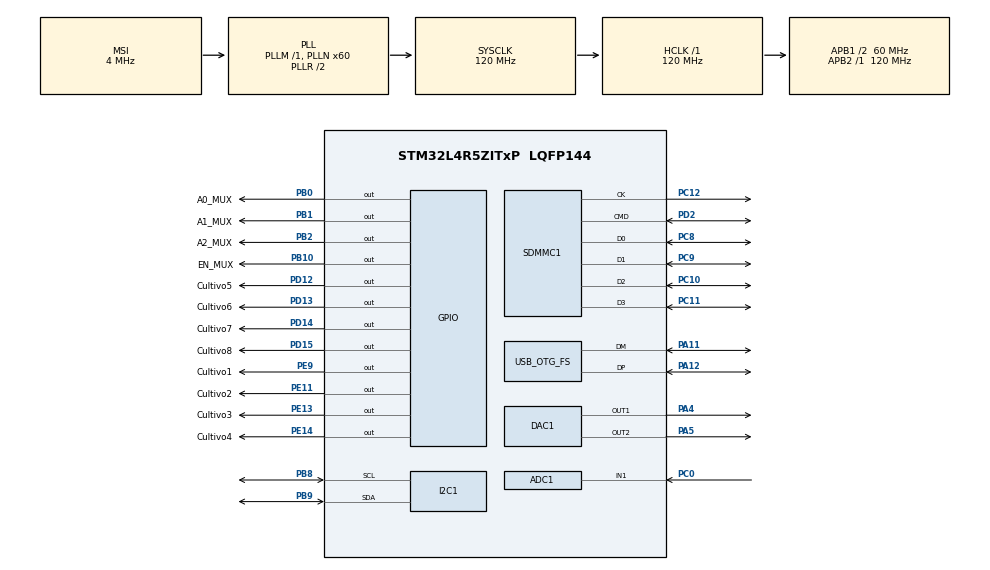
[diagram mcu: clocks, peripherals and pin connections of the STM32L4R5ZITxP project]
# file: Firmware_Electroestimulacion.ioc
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ADC1.Channel-0\#ChannelRegularConversion=ADC_CHANNEL_1
ADC1.ContinuousConvMode=ENABLE
ADC1.ExternalTrigConv=ADC_EXTERNALTRIG_T1_TRGO
ADC1.NbrOfConversionFlag=1
ADC1.OffsetNumber-0\#ChannelRegularConversion=ADC_OFFSET_NONE
ADC1.Overrun=ADC_OVR_DATA_OVERWRITTEN
ADC1.Rank-0\#ChannelRegularConversion=1
ADC1.SamplingTime-0\#ChannelRegularConversion=ADC_SAMPLETIME_2CYCLES_5
ADC1.master=1
DAC1.DAC_Channel-DAC_OUT2=DAC_CHANNEL_2
DAC1.DAC_HighFrequency-DAC_OUT1=DAC_HIGH_FREQUENCY_INTERFACE_MODE_AUTOMATIC
DAC1.DAC_HighFrequency-DAC_OUT2=DAC_HIGH_FREQUENCY_INTERFACE_MODE_AUTOMATIC
DAC1.DAC_Trigger-DAC_OUT1=DAC_TRIGGER_T1_TRGO
DAC1.DAC_Trigger-DAC_OUT2=DAC_TRIGGER_T8_TRGO
Dma.ADC1.2.Direction=DMA_PERIPH_TO_MEMORY
Dma.ADC1.2.EventEnable=DISABLE
Dma.ADC1.2.Instance=DMA1_Channel3
Dma.ADC1.2.MemDataAlignment=DMA_MDATAALIGN_HALFWORD
Dma.ADC1.2.MemInc=DMA_MINC_ENABLE
Dma.ADC1.2.Mode=DMA_NORMAL
Dma.ADC1.2.PeriphDataAlignment=DMA_PDATAALIGN_HALFWORD
Dma.ADC1.2.PeriphInc=DMA_PINC_DISABLE
Dma.ADC1.2.Polarity=HAL_DMAMUX_REQUEST_GEN_RISING
Dma.ADC1.2.Priority=DMA_PRIORITY_VERY_HIGH
Dma.ADC1.2.RequestNumber=1
Dma.ADC1.2.SignalID=NONE
Dma.ADC1.2.SyncEnable=DISABLE
Dma.ADC1.2.SyncPolarity=HAL_DMAMUX_SYNC_NO_EVENT
Dma.ADC1.2.SyncRequestNumber=1
Dma.ADC1.2.SyncSignalID=NONE
Dma.DAC1_CH1.0.Direction=DMA_MEMORY_TO_PERIPH
Dma.DAC1_CH1.0.EventEnable=DISABLE
Dma.DAC1_CH1.0.Instance=DMA1_Channel1
Dma.DAC1_CH1.0.MemDataAlignment=DMA_MDATAALIGN_WORD
Dma.DAC1_CH1.0.MemInc=DMA_MINC_ENABLE
Dma.DAC1_CH1.0.Mode=DMA_CIRCULAR
Dma.DAC1_CH1.0.PeriphDataAlignment=DMA_PDATAALIGN_WORD
Dma.DAC1_CH1.0.PeriphInc=DMA_PINC_DISABLE
Dma.DAC1_CH1.0.Polarity=HAL_DMAMUX_REQUEST_GEN_RISING
Dma.DAC1_CH1.0.Priority=DMA_PRIORITY_HIGH
Dma.DAC1_CH1.0.RequestNumber=1
Dma.DAC1_CH1.0.SignalID=NONE
Dma.DAC1_CH1.0.SyncEnable=DISABLE
Dma.DAC1_CH1.0.SyncPolarity=HAL_DMAMUX_SYNC_NO_EVENT
Dma.DAC1_CH1.0.SyncRequestNumber=1
Dma.DAC1_CH1.0.SyncSignalID=NONE
Dma.DAC1_CH2.1.Direction=DMA_MEMORY_TO_PERIPH
Dma.DAC1_CH2.1.EventEnable=DISABLE
Dma.DAC1_CH2.1.Instance=DMA1_Channel2
Dma.DAC1_CH2.1.MemDataAlignment=DMA_MDATAALIGN_WORD
Dma.DAC1_CH2.1.MemInc=DMA_MINC_ENABLE
Dma.DAC1_CH2.1.Mode=DMA_CIRCULAR
Dma.DAC1_CH2.1.PeriphDataAlignment=DMA_PDATAALIGN_WORD
Dma.DAC1_CH2.1.PeriphInc=DMA_PINC_DISABLE
Dma.DAC1_CH2.1.Polarity=HAL_DMAMUX_REQUEST_GEN_RISING
Dma.DAC1_CH2.1.Priority=DMA_PRIORITY_HIGH
Dma.DAC1_CH2.1.RequestNumber=1
Dma.DAC1_CH2.1.SignalID=NONE
Dma.DAC1_CH2.1.SyncEnable=DISABLE
Dma.DAC1_CH2.1.SyncPolarity=HAL_DMAMUX_SYNC_NO_EVENT
Dma.DAC1_CH2.1.SyncRequestNumber=1
Dma.DAC1_CH2.1.SyncSignalID=NONE
Dma.Request0=DAC1_CH1
Dma.Request1=DAC1_CH2
Dma.Request2=ADC1
I2C1.Timing=0x10A077A8
IWDG.Prescaler=IWDG_PRESCALER_16
Mcu.Family=STM32L4
Mcu.Name=STM32L4R5ZITxP
Mcu.Package=LQFP144
NVIC.DMA1_Channel1_IRQn=true\:0\:0\:false\:false\:true\:false\:true\:true
NVIC.DMA1_Channel2_IRQn=true\:0\:0\:false\:false\:true\:false\:true\:true
NVIC.DMA1_Channel3_IRQn=true\:0\:0\:false\:false\:true\:false\:true\:true
NVIC.OTG_FS_IRQn=true\:0\:0\:false\:false\:true\:false\:true\:true
NVIC.PriorityGroup=NVIC_PRIORITYGROUP_4
PA11.Mode=Device_Only
PA11.Signal=USB_OTG_FS_DM
PA12.Mode=Device_Only
PA12.Signal=USB_OTG_FS_DP
PA4.Signal=COMP_DAC11_group
PA5.Signal=COMP_DAC12_group
PB0.GPIO_Label=A0_MUX
PB0.Signal=GPIO_Output
PB1.GPIO_Label=A1_MUX
PB1.Signal=GPIO_Output
PB10.GPIO_Label=EN_MUX
PB10.Signal=GPIO_Output
PB2.GPIO_Label=A2_MUX
PB2.Signal=GPIO_Output
PB8.Mode=I2C
PB8.Signal=I2C1_SCL
PB9.Mode=I2C
PB9.Signal=I2C1_SDA
PC0.Signal=ADCx_IN1
PC10.GPIO_PuPd=GPIO_PULLUP
PC10.Mode=SD_4_bits_Wide_bus
PC10.Signal=SDMMC1_D2
PC11.GPIO_PuPd=GPIO_PULLUP
PC11.Mode=SD_4_bits_Wide_bus
PC11.Signal=SDMMC1_D3
PC12.Mode=SD_4_bits_Wide_bus
PC12.Signal=SDMMC1_CK
PC14-OSC32_IN\ (PC14).Mode=LSE-External-Oscillator
PC14-OSC32_IN\ (PC14).Signal=RCC_OSC32_IN
PC15-OSC32_OUT\ (PC15).Mode=LSE-External-Oscillator
PC15-OSC32_OUT\ (PC15).Signal=RCC_OSC32_OUT
PC8.GPIO_PuPd=GPIO_PULLUP
PC8.Mode=SD_4_bits_Wide_bus
PC8.Signal=SDMMC1_D0
PC9.GPIO_PuPd=GPIO_PULLUP
PC9.Mode=SD_4_bits_Wide_bus
PC9.Signal=SDMMC1_D1
PD12.GPIO_Label=Cultivo5
PD12.Signal=GPIO_Output
PD13.GPIO_Label=Cultivo6
PD13.Signal=GPIO_Output
PD14.GPIO_Label=Cultivo7
PD14.Signal=GPIO_Output
PD15.GPIO_Label=Cultivo8
PD15.Signal=GPIO_Output
PD2.GPIO_PuPd=GPIO_PULLUP
PD2.Mode=SD_4_bits_Wide_bus
PD2.Signal=SDMMC1_CMD
PE11.GPIO_Label=Cultivo2
PE11.Signal=GPIO_Output
PE13.GPIO_Label=Cultivo3
PE13.Signal=GPIO_Output
PE14.GPIO_Label=Cultivo4
PE14.Signal=GPIO_Output
PE9.GPIO_Label=Cultivo1
PE9.Signal=GPIO_Output
ProjectManager.HeapSize=0x200
ProjectManager.StackSize=0x400
ProjectManager.TargetToolchain=STM32CubeIDE
RCC.ADCFreq_Value=80000000
RCC.AHBFreq_Value=120000000
RCC.APB1CLKDivider=RCC_HCLK_DIV2
RCC.APB1Freq_Value=60000000
RCC.APB1TimFreq_Value=120000000
RCC.APB2Freq_Value=120000000
RCC.APB2TimFreq_Value=120000000
RCC.CK48CLockSelection=RCC_USBCLKSOURCE_HSI48
RCC.CortexFreq_Value=120000000
RCC.HCLKFreq_Value=120000000
RCC.HSE_VALUE=8000000
RCC.HSI48_VALUE=48000000
RCC.HSI_VALUE=16000000
RCC.MSI_VALUE=4000000
RCC.PLLN=60
RCC.PLLSAI1N=40
RCC.RTCClockSelection=RCC_RTCCLKSOURCE_LSE
RCC.SYSCLKFreq_VALUE=120000000
RCC.SYSCLKSource=RCC_SYSCLKSOURCE_PLLCLK
RCC.USBFreq_Value=48000000
RCC.VCOOutputFreq_Value=240000000
SDMMC1.ClockDiv=4
SDMMC1.HardwareFlowControl=SDMMC_HARDWARE_FLOW_CONTROL_ENABLE
SH.ADCx_IN1.0=ADC1_IN1,IN1-Single-Ended
SH.COMP_DAC11_group.0=DAC1_OUT1,DAC_OUT1
SH.COMP_DAC12_group.0=DAC1_OUT2,DAC_OUT2
TIM1.TIM_MasterOutputTrigger=TIM_TRGO_UPDATE
TIM8.TIM_MasterOutputTrigger=TIM_TRGO_UPDATE
USB_DEVICE.CLASS_NAME_FS=CDC
USB_DEVICE.VirtualMode=Cdc
USB_DEVICE.VirtualModeFS=Cdc_FS
USB_OTG_FS.VirtualMode=Device_Only
VP_FATFS_VS_SDIO.Mode=SDIO
VP_IWDG_VS_IWDG.Mode=IWDG_Activate
VP_RCC_LSE.Mode=CRS SYNC Source LSE
VP_RTC_VS_RTC_Activate.Mode=RTC_Enabled
VP_RTC_VS_RTC_Calendar.Mode=RTC_Calendar
VP_TIM1_VS_ClockSourceINT.Mode=Internal
VP_TIM8_VS_ClockSourceINT.Mode=Internal
VP_USB_DEVICE_VS_USB_DEVICE_CDC_FS.Mode=CDC_FS
board=custom

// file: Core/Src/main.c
/* USER CODE BEGIN Header */
/**
  ******************************************************************************
  * @file           : main.c
  * @brief          : Main program body
  ******************************************************************************
  * @attention
  *
  * Copyright (c) 2026 STMicroelectronics.
  * All rights reserved.
  *
  * This software is licensed under terms that can be found in the LICENSE file
  * in the root directory of this software component.
  * If no LICENSE file comes with this software, it is provided AS-IS.
  *
  ******************************************************************************
  */
/* USER CODE END Header */
#include "main.h"
#include "fatfs.h"
#include "usb_device.h"

/* USER CODE BEGIN Includes */
#include "ad5144.h"
#include "dac_waveform.h"
#include "culture_selector.h"
#include "tia_mux.h"
#include "current_calc.h"
#include "tia_reader.h"
#include "sd_logger.h"
#include "session_fsm.h"
#include "uart_protocol.h"
/* USER CODE END Includes */

ADC_HandleTypeDef hadc1;
DMA_HandleTypeDef hdma_adc1;

DAC_HandleTypeDef hdac1;
DMA_HandleTypeDef hdma_dac1_ch1;
DMA_HandleTypeDef hdma_dac1_ch2;

I2C_HandleTypeDef hi2c1;

IWDG_HandleTypeDef hiwdg;

RTC_HandleTypeDef hrtc;

SD_HandleTypeDef hsd1;

TIM_HandleTypeDef htim1;
TIM_HandleTypeDef htim8;

/* USER CODE BEGIN PV */
/* Las dos instancias del potenciometro digital cuadruple: U1 fija la
 * amplitud de los canales 1-4 (banco A), U2 la de los 5-8 (banco B). El
 * strap del pin ADDR de cada chip (confirmado contra ESA.png): U1 -> VDD,
 * U2 -> GND. */
static AD5144_Handle_t ad5144_bank_a;
static AD5144_Handle_t ad5144_bank_b;
/* USER CODE END PV */

void SystemClock_Config(void);
static void MX_GPIO_Init(void);
static void MX_DMA_Init(void);
static void MX_DAC1_Init(void);
static void MX_TIM1_Init(void);
static void MX_TIM8_Init(void);
static void MX_ADC1_Init(void);
static void MX_I2C1_Init(void);
static void MX_IWDG_Init(void);
static void MX_RTC_Init(void);
static void MX_SDMMC1_SD_Init(void);

int main(void)
{

  /* MCU Configuration--------------------------------------------------------*/

  /* Reset of all peripherals, Initializes the Flash interface and the Systick. */
  HAL_Init();

  /* Configure the system clock */
  SystemClock_Config();

  /* Initialize all configured peripherals */
  MX_GPIO_Init();
  MX_DMA_Init();
  MX_DAC1_Init();
  MX_TIM1_Init();
  MX_TIM8_Init();
  MX_ADC1_Init();
  MX_I2C1_Init();
  MX_IWDG_Init();
  MX_RTC_Init();
  MX_SDMMC1_SD_Init();
  MX_FATFS_Init();
  MX_USB_DEVICE_Init();
  /* USER CODE BEGIN 2 */

  /* --- Capa BSP: arranque en 0 V en los 8 canales (requisito de seguridad) --- */
  if (DacWaveform_Init(&hdac1, &htim1, &htim8) != HAL_OK)
  {
    Error_Handler();
  }
  /* AD5144_Init hace un ping I2C: sin la placa fisica devolvera != HAL_OK,
   * pero eso no debe bloquear el arranque. La postura segura la mantienen
   * el DAC aparcado en VBIAS (DacWaveform_Init), AD5144_AllChannelsZero
   * (ganancia minima, codigo 255) y los pocillos a GND. */
  (void)AD5144_Init(&ad5144_bank_a, &hi2c1, AD5144_I2C_ADDR_ADDR_VLOG);  /* U1: ADDR=2V5=VLOGIC -> 0x28 */
  (void)AD5144_Init(&ad5144_bank_b, &hi2c1, AD5144_I2C_ADDR_ADDR_GND);   /* U2: ADDR=GND        -> 0x2B */
  (void)AD5144_AllChannelsZero(&ad5144_bank_a);
  (void)AD5144_AllChannelsZero(&ad5144_bank_b);
  (void)CultureSelector_AllDisconnect();
  CurrentCalc_Init();
  (void)CurrentCalc_LoadFromFlash();   /* sin calibracion guardada: valores por defecto */
  (void)TiaReader_Init(&hadc1);        /* calibra el ADC; lectura parada */

  /* --- Capa App: FSM de sesion (reanuda desde backup si procede) y parser --- */
  (void)SessionFSM_Init(&hrtc, &ad5144_bank_a, &ad5144_bank_b);
  UartProtocol_Init();
  SdLogger_Init();

  /* USER CODE END 2 */

  /* Infinite loop */
  while (1)
  {

    /* USER CODE BEGIN 3 */
    SessionFSM_Task();      /* transiciones ON/REST del protocolo          */
    UartProtocol_Task();    /* comandos del host por USB CDC               */
    TiaReader_Task();       /* rafagas de medida de corriente              */
    SdLogger_Task();        /* ventanas de 1 s y registro en la microSD    */
    HAL_IWDG_Refresh(&hiwdg); /* solo desde el bucle sano: si esto se
                                cuelga, el IWDG resetea y no se sigue
                                estimulando sin control */
  }
  /* USER CODE END 3 */
}

void SystemClock_Config(void)
{
  RCC_OscInitTypeDef RCC_OscInitStruct = {0};
  RCC_ClkInitTypeDef RCC_ClkInitStruct = {0};
  RCC_CRSInitTypeDef RCC_CRSInitStruct = {0};

  /** Configure the main internal regulator output voltage
  */
  if (HAL_PWREx_ControlVoltageScaling(PWR_REGULATOR_VOLTAGE_SCALE1_BOOST) != HAL_OK)
  {
    Error_Handler();
  }

  /** Configure LSE Drive Capability
  */
  HAL_PWR_EnableBkUpAccess();
  __HAL_RCC_LSEDRIVE_CONFIG(RCC_LSEDRIVE_LOW);

  /** Initializes the RCC Oscillators according to the specified parameters
  * in the RCC_OscInitTypeDef structure.
  */
  RCC_OscInitStruct.OscillatorType = RCC_OSCILLATORTYPE_HSI48|RCC_OSCILLATORTYPE_LSI
                              |RCC_OSCILLATORTYPE_LSE|RCC_OSCILLATORTYPE_MSI;
  RCC_OscInitStruct.LSEState = RCC_LSE_ON;
  RCC_OscInitStruct.HSI48State = RCC_HSI48_ON;
  RCC_OscInitStruct.LSIState = RCC_LSI_ON;
  RCC_OscInitStruct.MSIState = RCC_MSI_ON;
  RCC_OscInitStruct.MSICalibrationValue = 0;
  RCC_OscInitStruct.MSIClockRange = RCC_MSIRANGE_6;
  RCC_OscInitStruct.PLL.PLLState = RCC_PLL_ON;
  RCC_OscInitStruct.PLL.PLLSource = RCC_PLLSOURCE_MSI;
  RCC_OscInitStruct.PLL.PLLM = 1;
  RCC_OscInitStruct.PLL.PLLN = 60;
  RCC_OscInitStruct.PLL.PLLP = RCC_PLLP_DIV2;
  RCC_OscInitStruct.PLL.PLLQ = RCC_PLLQ_DIV2;
  RCC_OscInitStruct.PLL.PLLR = RCC_PLLR_DIV2;
  if (HAL_RCC_OscConfig(&RCC_OscInitStruct) != HAL_OK)
  {
    Error_Handler();
  }

  /** Initializes the CPU, AHB and APB buses clocks
  */
  RCC_ClkInitStruct.ClockType = RCC_CLOCKTYPE_HCLK|RCC_CLOCKTYPE_SYSCLK
                              |RCC_CLOCKTYPE_PCLK1|RCC_CLOCKTYPE_PCLK2;
  RCC_ClkInitStruct.SYSCLKSource = RCC_SYSCLKSOURCE_PLLCLK;
  RCC_ClkInitStruct.AHBCLKDivider = RCC_SYSCLK_DIV1;
  RCC_ClkInitStruct.APB1CLKDivider = RCC_HCLK_DIV2;
  RCC_ClkInitStruct.APB2CLKDivider = RCC_HCLK_DIV1;

  if (HAL_RCC_ClockConfig(&RCC_ClkInitStruct, FLASH_LATENCY_5) != HAL_OK)
  {
    Error_Handler();
  }

  /** Enable the SYSCFG APB clock
  */
  __HAL_RCC_CRS_CLK_ENABLE();

  /** Configures CRS
  */
  RCC_CRSInitStruct.Prescaler = RCC_CRS_SYNC_DIV1;
  RCC_CRSInitStruct.Source = RCC_CRS_SYNC_SOURCE_LSE;
  RCC_CRSInitStruct.Polarity = RCC_CRS_SYNC_POLARITY_RISING;
  RCC_CRSInitStruct.ReloadValue = __HAL_RCC_CRS_RELOADVALUE_CALCULATE(48000000,32768);
  RCC_CRSInitStruct.ErrorLimitValue = 34;
  RCC_CRSInitStruct.HSI48CalibrationValue = 32;

  HAL_RCCEx_CRSConfig(&RCC_CRSInitStruct);
}

static void MX_ADC1_Init(void)
{

  ADC_ChannelConfTypeDef sConfig = {0};

  /** Common config
  */
  hadc1.Instance = ADC1;
  hadc1.Init.ClockPrescaler = ADC_CLOCK_ASYNC_DIV1;
  hadc1.Init.Resolution = ADC_RESOLUTION_12B;
  hadc1.Init.DataAlign = ADC_DATAALIGN_RIGHT;
  hadc1.Init.ScanConvMode = ADC_SCAN_DISABLE;
  hadc1.Init.EOCSelection = ADC_EOC_SINGLE_CONV;
  hadc1.Init.LowPowerAutoWait = DISABLE;
  hadc1.Init.ContinuousConvMode = ENABLE;
  hadc1.Init.NbrOfConversion = 1;
  hadc1.Init.DiscontinuousConvMode = DISABLE;
  hadc1.Init.ExternalTrigConv = ADC_EXTERNALTRIG_T1_TRGO;
  hadc1.Init.ExternalTrigConvEdge = ADC_EXTERNALTRIGCONVEDGE_RISING;
  hadc1.Init.DMAContinuousRequests = DISABLE;
  hadc1.Init.Overrun = ADC_OVR_DATA_OVERWRITTEN;
  hadc1.Init.OversamplingMode = DISABLE;
  if (HAL_ADC_Init(&hadc1) != HAL_OK)
  {
    Error_Handler();
  }

  /** Configure Regular Channel
  */
  sConfig.Channel = ADC_CHANNEL_1;
  sConfig.Rank = ADC_REGULAR_RANK_1;
  sConfig.SamplingTime = ADC_SAMPLETIME_2CYCLES_5;
  sConfig.SingleDiff = ADC_SINGLE_ENDED;
  sConfig.OffsetNumber = ADC_OFFSET_NONE;
  sConfig.Offset = 0;
  if (HAL_ADC_ConfigChannel(&hadc1, &sConfig) != HAL_OK)
  {
    Error_Handler();
  }

}

static void MX_DAC1_Init(void)
{

  DAC_ChannelConfTypeDef sConfig = {0};

  /** DAC Initialization
  */
  hdac1.Instance = DAC1;
  if (HAL_DAC_Init(&hdac1) != HAL_OK)
  {
    Error_Handler();
  }

  /** DAC channel OUT1 config
  */
  sConfig.DAC_SampleAndHold = DAC_SAMPLEANDHOLD_DISABLE;
  sConfig.DAC_Trigger = DAC_TRIGGER_T1_TRGO;
  sConfig.DAC_HighFrequency = DAC_HIGH_FREQUENCY_INTERFACE_MODE_AUTOMATIC;
  sConfig.DAC_OutputBuffer = DAC_OUTPUTBUFFER_ENABLE;
  sConfig.DAC_ConnectOnChipPeripheral = DAC_CHIPCONNECT_DISABLE;
  sConfig.DAC_UserTrimming = DAC_TRIMMING_FACTORY;
  if (HAL_DAC_ConfigChannel(&hdac1, &sConfig, DAC_CHANNEL_1) != HAL_OK)
  {
    Error_Handler();
  }

  /** DAC channel OUT2 config
  */
  sConfig.DAC_Trigger = DAC_TRIGGER_T8_TRGO;
  if (HAL_DAC_ConfigChannel(&hdac1, &sConfig, DAC_CHANNEL_2) != HAL_OK)
  {
    Error_Handler();
  }

}

static void MX_I2C1_Init(void)
{

  hi2c1.Instance = I2C1;
  hi2c1.Init.Timing = 0x10A077A8;
  hi2c1.Init.OwnAddress1 = 0;
  hi2c1.Init.AddressingMode = I2C_ADDRESSINGMODE_7BIT;
  hi2c1.Init.DualAddressMode = I2C_DUALADDRESS_DISABLE;
  hi2c1.Init.OwnAddress2 = 0;
  hi2c1.Init.OwnAddress2Masks = I2C_OA2_NOMASK;
  hi2c1.Init.GeneralCallMode = I2C_GENERALCALL_DISABLE;
  hi2c1.Init.NoStretchMode = I2C_NOSTRETCH_DISABLE;
  if (HAL_I2C_Init(&hi2c1) != HAL_OK)
  {
    Error_Handler();
  }

  /** Configure Analogue filter
  */
  if (HAL_I2CEx_ConfigAnalogFilter(&hi2c1, I2C_ANALOGFILTER_ENABLE) != HAL_OK)
  {
    Error_Handler();
  }

  /** Configure Digital filter
  */
  if (HAL_I2CEx_ConfigDigitalFilter(&hi2c1, 0) != HAL_OK)
  {
    Error_Handler();
  }

}

static void MX_IWDG_Init(void)
{

  hiwdg.Instance = IWDG;
  hiwdg.Init.Prescaler = IWDG_PRESCALER_16;
  hiwdg.Init.Window = 4095;
  hiwdg.Init.Reload = 4095;
  if (HAL_IWDG_Init(&hiwdg) != HAL_OK)
  {
    Error_Handler();
  }

}

static void MX_RTC_Init(void)
{

  RTC_TimeTypeDef sTime = {0};
  RTC_DateTypeDef sDate = {0};

  /** Initialize RTC Only
  */
  hrtc.Instance = RTC;
  hrtc.Init.HourFormat = RTC_HOURFORMAT_24;
  hrtc.Init.AsynchPrediv = 127;
  hrtc.Init.SynchPrediv = 255;
  hrtc.Init.OutPut = RTC_OUTPUT_DISABLE;
  hrtc.Init.OutPutRemap = RTC_OUTPUT_REMAP_NONE;
  hrtc.Init.OutPutPolarity = RTC_OUTPUT_POLARITY_HIGH;
  hrtc.Init.OutPutType = RTC_OUTPUT_TYPE_OPENDRAIN;
  if (HAL_RTC_Init(&hrtc) != HAL_OK)
  {
    Error_Handler();
  }

  /* USER CODE BEGIN Check_RTC_BKUP */
  /* El calendario del RTC es la base de tiempo del protocolo 6h/6h
   * (session_fsm mide diferencias sobre el). Si ya se ajusto en un
   * arranque anterior y ha seguido contando gracias a VBAT, NO se debe
   * reescribir hora/fecha aqui: eso reiniciaria el reloj y se perderia
   * el punto del protocolo tras un corte de alimentacion.
   * RTC_BKP_DR31 se reserva como testigo de "calendario ya inicializado";
   * session_fsm usa RTC_BKP_DR0..DR13. */
  if (HAL_RTCEx_BKUPRead(&hrtc, RTC_BKP_DR31) == 0x32F2U)
  {
    return;
  }
  /* USER CODE END Check_RTC_BKUP */

  /** Initialize RTC and set the Time and Date
  */
  sTime.Hours = 0x0;
  sTime.Minutes = 0x0;
  sTime.Seconds = 0x0;
  sTime.DayLightSaving = RTC_DAYLIGHTSAVING_NONE;
  sTime.StoreOperation = RTC_STOREOPERATION_RESET;
  if (HAL_RTC_SetTime(&hrtc, &sTime, RTC_FORMAT_BCD) != HAL_OK)
  {
    Error_Handler();
  }
  sDate.WeekDay = RTC_WEEKDAY_MONDAY;
  sDate.Month = RTC_MONTH_JANUARY;
  sDate.Date = 0x1;
  sDate.Year = 0x0;

  if (HAL_RTC_SetDate(&hrtc, &sDate, RTC_FORMAT_BCD) != HAL_OK)
  {
    Error_Handler();
  }
  /* USER CODE BEGIN RTC_Init 2 */
  /* Primer arranque: se acaba de fijar hora/fecha. Se marca el testigo
   * para que los siguientes arranques respeten el calendario en curso. */
  HAL_PWR_EnableBkUpAccess();
  HAL_RTCEx_BKUPWrite(&hrtc, RTC_BKP_DR31, 0x32F2U);
  /* USER CODE END RTC_Init 2 */

}

static void MX_SDMMC1_SD_Init(void)
{

  hsd1.Instance = SDMMC1;
  hsd1.Init.ClockEdge = SDMMC_CLOCK_EDGE_RISING;
  hsd1.Init.ClockPowerSave = SDMMC_CLOCK_POWER_SAVE_DISABLE;
  hsd1.Init.BusWide = SDMMC_BUS_WIDE_4B;
  hsd1.Init.HardwareFlowControl = SDMMC_HARDWARE_FLOW_CONTROL_ENABLE;
  hsd1.Init.ClockDiv = 4;
  hsd1.Init.Transceiver = SDMMC_TRANSCEIVER_DISABLE;

}

static void MX_TIM1_Init(void)
{

  TIM_ClockConfigTypeDef sClockSourceConfig = {0};
  TIM_MasterConfigTypeDef sMasterConfig = {0};

  htim1.Instance = TIM1;
  htim1.Init.Prescaler = 0;
  htim1.Init.CounterMode = TIM_COUNTERMODE_UP;
  htim1.Init.Period = 65535;
  htim1.Init.ClockDivision = TIM_CLOCKDIVISION_DIV1;
  htim1.Init.RepetitionCounter = 0;
  htim1.Init.AutoReloadPreload = TIM_AUTORELOAD_PRELOAD_DISABLE;
  if (HAL_TIM_Base_Init(&htim1) != HAL_OK)
  {
    Error_Handler();
  }
  sClockSourceConfig.ClockSource = TIM_CLOCKSOURCE_INTERNAL;
  if (HAL_TIM_ConfigClockSource(&htim1, &sClockSourceConfig) != HAL_OK)
  {
    Error_Handler();
  }
  sMasterConfig.MasterOutputTrigger = TIM_TRGO_UPDATE;
  sMasterConfig.MasterOutputTrigger2 = TIM_TRGO2_RESET;
  sMasterConfig.MasterSlaveMode = TIM_MASTERSLAVEMODE_DISABLE;
  if (HAL_TIMEx_MasterConfigSynchronization(&htim1, &sMasterConfig) != HAL_OK)
  {
    Error_Handler();
  }

}

static void MX_TIM8_Init(void)
{

  TIM_ClockConfigTypeDef sClockSourceConfig = {0};
  TIM_MasterConfigTypeDef sMasterConfig = {0};

  htim8.Instance = TIM8;
  htim8.Init.Prescaler = 0;
  htim8.Init.CounterMode = TIM_COUNTERMODE_UP;
  htim8.Init.Period = 65535;
  htim8.Init.ClockDivision = TIM_CLOCKDIVISION_DIV1;
  htim8.Init.RepetitionCounter = 0;
  htim8.Init.AutoReloadPreload = TIM_AUTORELOAD_PRELOAD_DISABLE;
  if (HAL_TIM_Base_Init(&htim8) != HAL_OK)
  {
    Error_Handler();
  }
  sClockSourceConfig.ClockSource = TIM_CLOCKSOURCE_INTERNAL;
  if (HAL_TIM_ConfigClockSource(&htim8, &sClockSourceConfig) != HAL_OK)
  {
    Error_Handler();
  }
  sMasterConfig.MasterOutputTrigger = TIM_TRGO_UPDATE;
  sMasterConfig.MasterOutputTrigger2 = TIM_TRGO2_RESET;
  sMasterConfig.MasterSlaveMode = TIM_MASTERSLAVEMODE_DISABLE;
  if (HAL_TIMEx_MasterConfigSynchronization(&htim8, &sMasterConfig) != HAL_OK)
  {
    Error_Handler();
  }

}

static void MX_DMA_Init(void)
{

  /* DMA controller clock enable */
  __HAL_RCC_DMAMUX1_CLK_ENABLE();
  __HAL_RCC_DMA1_CLK_ENABLE();

  /* DMA interrupt init */
  /* DMA1_Channel1_IRQn interrupt configuration */
  HAL_NVIC_SetPriority(DMA1_Channel1_IRQn, 0, 0);
  HAL_NVIC_EnableIRQ(DMA1_Channel1_IRQn);
  /* DMA1_Channel2_IRQn interrupt configuration */
  HAL_NVIC_SetPriority(DMA1_Channel2_IRQn, 0, 0);
  HAL_NVIC_EnableIRQ(DMA1_Channel2_IRQn);
  /* DMA1_Channel3_IRQn interrupt configuration */
  HAL_NVIC_SetPriority(DMA1_Channel3_IRQn, 0, 0);
  HAL_NVIC_EnableIRQ(DMA1_Channel3_IRQn);

}

static void MX_GPIO_Init(void)
{
  GPIO_InitTypeDef GPIO_InitStruct = {0};

  /* GPIO Ports Clock Enable */
  __HAL_RCC_GPIOC_CLK_ENABLE();
  __HAL_RCC_GPIOA_CLK_ENABLE();
  __HAL_RCC_GPIOB_CLK_ENABLE();
  __HAL_RCC_GPIOE_CLK_ENABLE();
  __HAL_RCC_GPIOD_CLK_ENABLE();

  /*Configure GPIO pin Output Level */
  HAL_GPIO_WritePin(GPIOB, A0_MUX_Pin|A1_MUX_Pin|A2_MUX_Pin|EN_MUX_Pin, GPIO_PIN_RESET);

  /*Configure GPIO pin Output Level */
  HAL_GPIO_WritePin(GPIOE, Cultivo1_Pin|Cultivo2_Pin|Cultivo3_Pin|Cultivo4_Pin, GPIO_PIN_RESET);

  /*Configure GPIO pin Output Level */
  HAL_GPIO_WritePin(GPIOD, Cultivo5_Pin|Cultivo6_Pin|Cultivo7_Pin|Cultivo8_Pin, GPIO_PIN_RESET);

  /*Configure GPIO pins : A0_MUX_Pin A1_MUX_Pin A2_MUX_Pin EN_MUX_Pin */
  GPIO_InitStruct.Pin = A0_MUX_Pin|A1_MUX_Pin|A2_MUX_Pin|EN_MUX_Pin;
  GPIO_InitStruct.Mode = GPIO_MODE_OUTPUT_PP;
  GPIO_InitStruct.Pull = GPIO_NOPULL;
  GPIO_InitStruct.Speed = GPIO_SPEED_FREQ_LOW;
  HAL_GPIO_Init(GPIOB, &GPIO_InitStruct);

  /*Configure GPIO pins : Cultivo1_Pin Cultivo2_Pin Cultivo3_Pin Cultivo4_Pin */
  GPIO_InitStruct.Pin = Cultivo1_Pin|Cultivo2_Pin|Cultivo3_Pin|Cultivo4_Pin;
  GPIO_InitStruct.Mode = GPIO_MODE_OUTPUT_PP;
  GPIO_InitStruct.Pull = GPIO_NOPULL;
  GPIO_InitStruct.Speed = GPIO_SPEED_FREQ_LOW;
  HAL_GPIO_Init(GPIOE, &GPIO_InitStruct);

  /*Configure GPIO pins : Cultivo5_Pin Cultivo6_Pin Cultivo7_Pin Cultivo8_Pin */
  GPIO_InitStruct.Pin = Cultivo5_Pin|Cultivo6_Pin|Cultivo7_Pin|Cultivo8_Pin;
  GPIO_InitStruct.Mode = GPIO_MODE_OUTPUT_PP;
  GPIO_InitStruct.Pull = GPIO_NOPULL;
  GPIO_InitStruct.Speed = GPIO_SPEED_FREQ_LOW;
  HAL_GPIO_Init(GPIOD, &GPIO_InitStruct);

  /* USER CODE BEGIN MX_GPIO_Init_2 */
  /* Selector TIA (MAX4581): ENABLE es activo a nivel bajo, asi que el nivel
   * Low que deja CubeMX en PB10 lo habilitaria. Se deja deshabilitado
   * (todos los interruptores abiertos) hasta que la lectura lo pida. */
  TiaMux_Disable();

  /* USER CODE END MX_GPIO_Init_2 */
}

void Error_Handler(void)
{
  __disable_irq();
  while (1)
  {
  }
}
